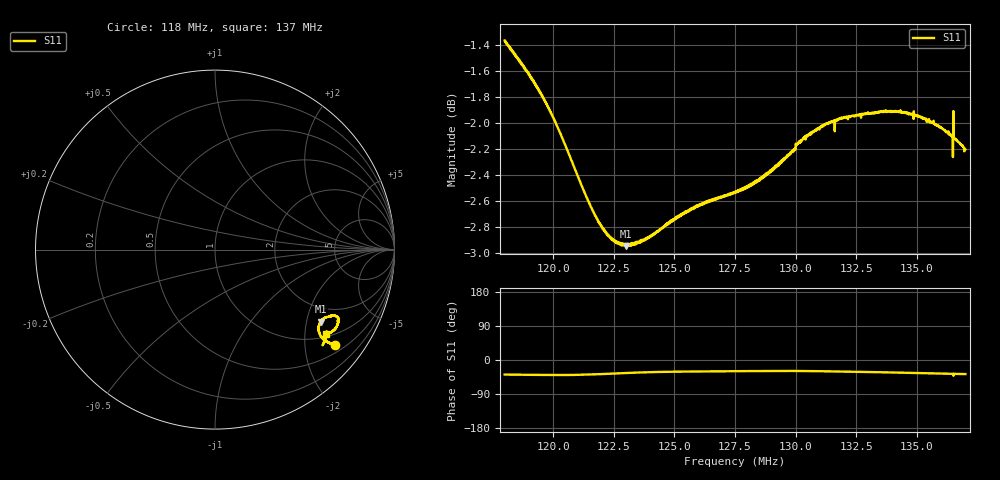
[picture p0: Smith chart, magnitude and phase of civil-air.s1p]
! Calibrated averaged scanner-service zoom
# Hz S RI R 50
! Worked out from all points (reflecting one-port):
!   2001 points, 118 MHz to 137 MHz, reference 50 ohm
!   lowest |S11| = -2.9 dB at 123 MHz (marker M1), VSWR 5.95, Z = 74.6 - j121 ohm
!   phase of S11 starts at -38 deg and turns +1 deg over the sweep
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1.18e8  0.6689 -0.5313
1.19463e8  0.6313 -0.5176
1.19957e8  0.6165 -0.5096
1.20375e8  0.6042 -0.4992
1.21059e8  0.5864 -0.4772
1.216005e8  0.5784 -0.455
1.221325e8  0.5778 -0.432
1.2275e8  0.5853 -0.4094
1.230065e8  0.5883 -0.4012
1.235005e8  0.5984 -0.3898
1.24061e8  0.6093 -0.3809
1.24517e8  0.6179 -0.3766
1.25125e8  0.6275 -0.3736
1.25961e8  0.6374 -0.3722
1.275e8  0.6497 -0.3687
1.28868e8  0.6649 -0.3669
1.29875e8  0.6783 -0.3737
1.302645e8  0.6845 -0.3782
1.30977e8  0.6874 -0.3883
1.3225e8  0.685 -0.4107
1.33637e8  0.6773 -0.4307
1.34625e8  0.6655 -0.4458
1.35708e8  0.6468 -0.4597
1.364015e8  0.6322 -0.4659
1.36411e8  0.6321 -0.4666
1.36601e8  0.6279 -0.4674
1.366105e8  0.6276 -0.4676
1.37e8  0.6178 -0.4691
